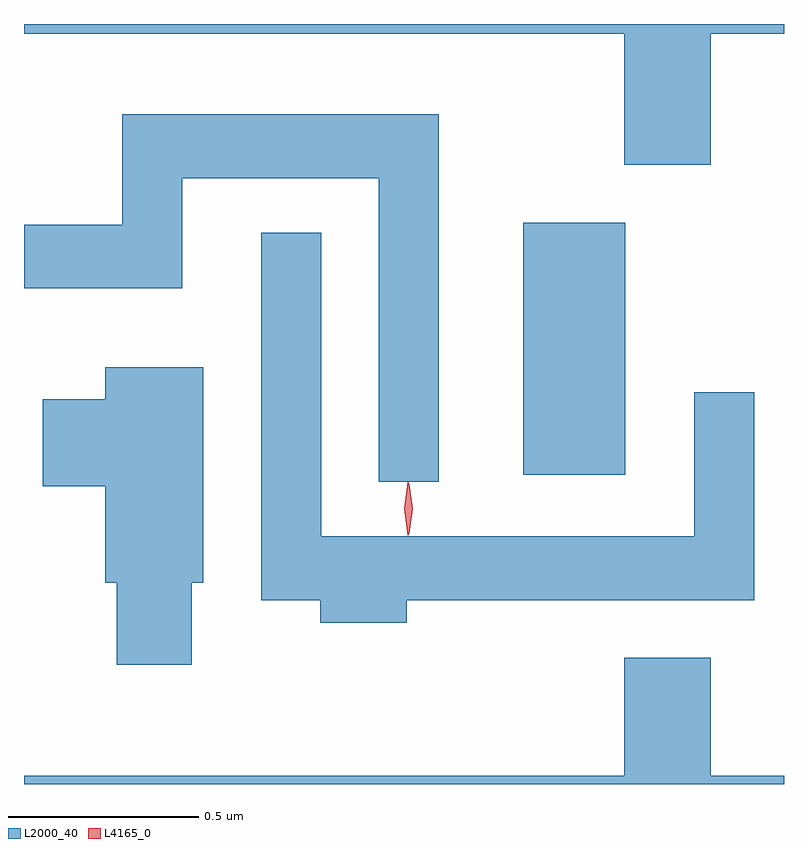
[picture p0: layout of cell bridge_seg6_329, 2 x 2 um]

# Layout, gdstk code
import gdstk
lib = gdstk.Library(unit=1e-6, precision=1e-09)
def R(c, l, rs):  # rectangles x0, y0, x1, y1
    for r in rs: c.add(gdstk.rectangle(r[:2], r[2:], *l))
def P(c, l, *ps):  # polygons
    for p in ps: c.add(gdstk.Polygon(p, *l))
L2000_40 = (2000, 40)
L4165_0 = (4165, 0)

bridge_seg6_329 = lib.new_cell('bridge_seg6_329')
R(bridge_seg6_329, L2000_40, [(1314.156,1535.556,1314.424,1536.219)])
P(bridge_seg6_329, L2000_40, [(1314.649,1536.716),(1314.842,1536.716),(1314.842,1536.742),(1312.842,1536.742),(1312.842,1536.716),(1314.421,1536.716),(1314.421,1536.371),(1314.649,1536.371)],
  [(1313.934,1536.504),(1313.101,1536.504),(1313.101,1536.214),(1312.842,1536.214),(1312.842,1536.046),(1313.259,1536.046),(1313.259,1536.336),(1313.776,1536.336),(1313.776,1535.538),(1313.934,1535.538)],
  [(1313.849,1535.226),(1314.764,1535.226),(1314.764,1535.773),(1314.606,1535.773),(1314.606,1535.394),(1313.624,1535.394),(1313.624,1536.193),(1313.466,1536.193),(1313.466,1535.226),(1313.621,1535.226),(1313.621,1535.166),(1313.849,1535.166)],
  [(1313.284,1535.271),(1313.314,1535.271),(1313.314,1535.839),(1313.056,1535.839),(1313.056,1535.754),(1312.891,1535.754),(1312.891,1535.526),(1313.056,1535.526),(1313.056,1535.271),(1313.086,1535.271),(1313.086,1535.056),(1313.284,1535.056)],
  [(1314.842,1534.764),(1314.649,1534.764),(1314.649,1535.074),(1314.421,1535.074),(1314.421,1534.764),(1312.842,1534.764),(1312.842,1534.742),(1314.842,1534.742)])
P(bridge_seg6_329, L4165_0, [(1313.855,1535.399),(1313.854,1535.4),(1313.845,1535.466),(1313.854,1535.532),(1313.855,1535.533),(1313.856,1535.532),(1313.865,1535.466),(1313.856,1535.4)],
  [(1313.852,1535.397),(1313.843,1535.467),(1313.852,1535.536),(1313.853,1535.536),(1313.853,1535.536),(1313.863,1535.467),(1313.853,1535.397),(1313.853,1535.397)])

lib.write_gds('bridge_seg6_329.gds')
